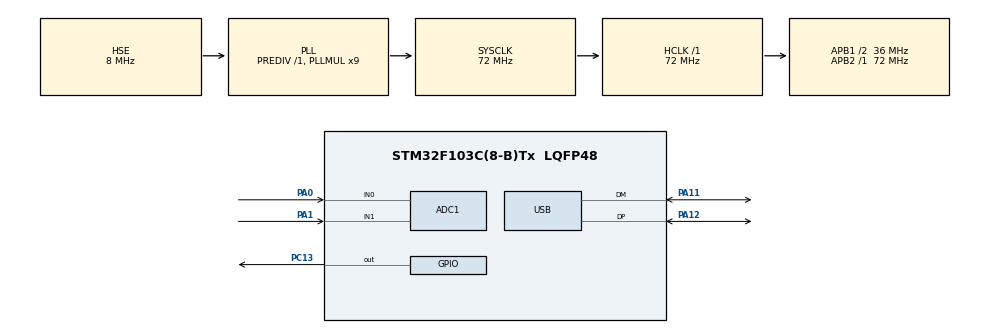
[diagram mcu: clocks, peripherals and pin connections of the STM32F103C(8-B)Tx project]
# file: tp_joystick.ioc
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ADC1.Channel-0\#ChannelRegularConversion=ADC_CHANNEL_0
ADC1.Channel-1\#ChannelRegularConversion=ADC_CHANNEL_0
ADC1.ContinuousConvMode=ENABLE
ADC1.NbrOfConversion=2
ADC1.NbrOfConversionFlag=1
ADC1.Rank-0\#ChannelRegularConversion=1
ADC1.Rank-1\#ChannelRegularConversion=2
ADC1.SamplingTime-0\#ChannelRegularConversion=ADC_SAMPLETIME_1CYCLE_5
ADC1.SamplingTime-1\#ChannelRegularConversion=ADC_SAMPLETIME_1CYCLE_5
ADC1.master=1
Mcu.Family=STM32F1
Mcu.Name=STM32F103C(8-B)Tx
Mcu.Package=LQFP48
NVIC.PriorityGroup=NVIC_PRIORITYGROUP_4
NVIC.USB_LP_CAN1_RX0_IRQn=true\:0\:0\:false\:false\:true\:false\:true
PA0-WKUP.Signal=ADCx_IN0
PA1.Signal=ADCx_IN1
PA11.Mode=Device
PA11.Signal=USB_DM
PA12.Mode=Device
PA12.Signal=USB_DP
PA13.Mode=Serial_Wire
PA13.Signal=SYS_JTMS-SWDIO
PA14.Mode=Serial_Wire
PA14.Signal=SYS_JTCK-SWCLK
PC13-TAMPER-RTC.Signal=GPIO_Output
PD0-OSC_IN.Mode=HSE-External-Oscillator
PD0-OSC_IN.Signal=RCC_OSC_IN
PD1-OSC_OUT.Mode=HSE-External-Oscillator
PD1-OSC_OUT.Signal=RCC_OSC_OUT
ProjectManager.HeapSize=0x200
ProjectManager.StackSize=0x400
ProjectManager.TargetToolchain=STM32CubeIDE
RCC.ADCPresc=RCC_ADCPCLK2_DIV6
RCC.AHBFreq_Value=72000000
RCC.APB1CLKDivider=RCC_HCLK_DIV2
RCC.APB1Freq_Value=36000000
RCC.APB1TimFreq_Value=72000000
RCC.APB2Freq_Value=72000000
RCC.APB2TimFreq_Value=72000000
RCC.HCLKFreq_Value=72000000
RCC.PLLMUL=RCC_PLL_MUL9
RCC.PLLSourceVirtual=RCC_PLLSOURCE_HSE
RCC.SYSCLKFreq_VALUE=72000000
RCC.SYSCLKSource=RCC_SYSCLKSOURCE_PLLCLK
RCC.USBFreq_Value=48000000
RCC.USBPrescaler=RCC_USBCLKSOURCE_PLL_DIV1_5
SH.ADCx_IN0.0=ADC1_IN0,IN0
SH.ADCx_IN1.0=ADC1_IN1,IN1
USB_DEVICE.CLASS_NAME_FS=HID
USB_DEVICE.VirtualMode=Hid
USB_DEVICE.VirtualModeFS=Hid_FS
VP_USB_DEVICE_VS_USB_DEVICE_HID_FS.Mode=HID_FS
board=custom

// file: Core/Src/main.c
/* USER CODE BEGIN Header */
/**
 ******************************************************************************
 * @file           : main.c
 * @brief          : Main program body
 ******************************************************************************
 * @attention
 *
 * <h2><center>&copy; Copyright (c) 2020 STMicroelectronics.
 * All rights reserved.</center></h2>
 *
 * This software component is licensed by ST under BSD 3-Clause license,
 * the "License"; You may not use this file except in compliance with the
 * License. You may obtain a copy of the License at:
 *                        opensource.org/licenses/BSD-3-Clause
 *
 ******************************************************************************
 */
/* USER CODE END Header */
#include "main.h"
#include "usb_device.h"

/* USER CODE BEGIN Includes */
#include "usbd_hid.h"
/* USER CODE END Includes */

/* USER CODE BEGIN PD */
#define TICKS_ADC_MS		(50)
#define DELAY_ADC			(64)
#define demora_software(X)	{for(int i=0; i<(X); i++){}}
#define LEN_MUESTRAS	(4)
/* USER CODE END PD */

ADC_HandleTypeDef hadc1;

/* USER CODE BEGIN PV */
extern USBD_HandleTypeDef hUsbDeviceFS;
/* USER CODE END PV */

void SystemClock_Config(void);
static void MX_GPIO_Init(void);
static void MX_ADC1_Init(void);
/* USER CODE BEGIN PFP */
void ADC_Select_CH0(void) {
	/** Configure Regular Channel
	 */
	ADC_ChannelConfTypeDef sConfig = { 0 };
	sConfig.Channel = ADC_CHANNEL_0;
	sConfig.Rank = ADC_REGULAR_RANK_1;
	sConfig.SamplingTime = ADC_SAMPLETIME_7CYCLES_5;
	if (HAL_ADC_ConfigChannel(&hadc1, &sConfig) != HAL_OK) {
		Error_Handler();
	}
}

void ADC_Select_CH1(void) {
	/** Configure Regular Channel
	 */
	ADC_ChannelConfTypeDef sConfig = { 0 };
	sConfig.Channel = ADC_CHANNEL_1;
	sConfig.Rank = ADC_REGULAR_RANK_1;
	sConfig.SamplingTime = ADC_SAMPLETIME_7CYCLES_5;
	if (HAL_ADC_ConfigChannel(&hadc1, &sConfig) != HAL_OK) {
		Error_Handler();
	}
}
/* USER CODE END PFP */

/* USER CODE BEGIN 0 */

uint16_t prom_ry = 0;
uint16_t prom_rx = 0;
/* USER CODE END 0 */

int main(void) {
	/* USER CODE BEGIN 1 */
	uint32_t ticks_adc;
	uint16_t dato_ch0 = 0;
	uint16_t dato_ch1 = 0;
	uint8_t i = 0;
	int8_t reporte[3];
	int8_t rx, ry;
	/* USER CODE END 1 */

	/* MCU Configuration--------------------------------------------------------*/

	/* Reset of all peripherals, Initializes the Flash interface and the Systick. */
	HAL_Init();

	/* Configure the system clock */
	SystemClock_Config();

	/* Initialize all configured peripherals */
	MX_GPIO_Init();
	MX_USB_DEVICE_Init();
	MX_ADC1_Init();

	/* Infinite loop */
	while (1) {

		/* USER CODE BEGIN 3 */
		if ((HAL_GetTick() - ticks_adc) >= TICKS_ADC_MS) {
			ticks_adc = HAL_GetTick();

			ADC_Select_CH0();
			HAL_ADC_Start(&hadc1);
			HAL_ADC_PollForConversion(&hadc1, 100);
			demora_software(DELAY_ADC);
			dato_ch0 += HAL_ADC_GetValue(&hadc1);
			HAL_ADC_Stop(&hadc1);

			ADC_Select_CH1();
			HAL_ADC_Start(&hadc1);
			HAL_ADC_PollForConversion(&hadc1, 100);
			demora_software(DELAY_ADC);
			dato_ch1 += HAL_ADC_GetValue(&hadc1);
			HAL_ADC_Stop(&hadc1);

			HAL_GPIO_TogglePin(GPIOC, GPIO_PIN_13);
			i++;
			if (i == LEN_MUESTRAS) {
				prom_ry = dato_ch0 / LEN_MUESTRAS;
				prom_rx = dato_ch1 / LEN_MUESTRAS;
				dato_ch0 = 0;
				dato_ch1 = 0;

				ry = (prom_ry - 1970) * 62 / 1000; //Es el valor en reposo
				rx = (prom_rx - 1970) * 62 / 1000; //Es el valor en reposo

				reporte[0] = HAL_GPIO_ReadPin(GPIOA, GPIO_PIN_2);
				reporte[1] = rx;
				reporte[2] = ry;
				USBD_HID_SendReport(&hUsbDeviceFS, (uint8_t*) reporte, 3);
//				HAL_Delay(10);
//				reporte[0] = 0;
//				reporte[1] = rx;
//				reporte[2] = ry;
//				USBD_HID_SendReport(&hUsbDeviceFS, (uint8_t*) reporte, 3);
				i = 0;
			}

		}
		UNUSED(dato_ch0);
		UNUSED(dato_ch1);
	}
	/* USER CODE END 3 */
}

void SystemClock_Config(void) {
	RCC_OscInitTypeDef RCC_OscInitStruct = { 0 };
	RCC_ClkInitTypeDef RCC_ClkInitStruct = { 0 };
	RCC_PeriphCLKInitTypeDef PeriphClkInit = { 0 };

	/** Initializes the RCC Oscillators according to the specified parameters
	 * in the RCC_OscInitTypeDef structure.
	 */
	RCC_OscInitStruct.OscillatorType = RCC_OSCILLATORTYPE_HSE;
	RCC_OscInitStruct.HSEState = RCC_HSE_ON;
	RCC_OscInitStruct.HSEPredivValue = RCC_HSE_PREDIV_DIV1;
	RCC_OscInitStruct.HSIState = RCC_HSI_ON;
	RCC_OscInitStruct.PLL.PLLState = RCC_PLL_ON;
	RCC_OscInitStruct.PLL.PLLSource = RCC_PLLSOURCE_HSE;
	RCC_OscInitStruct.PLL.PLLMUL = RCC_PLL_MUL9;
	if (HAL_RCC_OscConfig(&RCC_OscInitStruct) != HAL_OK) {
		Error_Handler();
	}
	/** Initializes the CPU, AHB and APB buses clocks
	 */
	RCC_ClkInitStruct.ClockType = RCC_CLOCKTYPE_HCLK | RCC_CLOCKTYPE_SYSCLK
			| RCC_CLOCKTYPE_PCLK1 | RCC_CLOCKTYPE_PCLK2;
	RCC_ClkInitStruct.SYSCLKSource = RCC_SYSCLKSOURCE_PLLCLK;
	RCC_ClkInitStruct.AHBCLKDivider = RCC_SYSCLK_DIV1;
	RCC_ClkInitStruct.APB1CLKDivider = RCC_HCLK_DIV2;
	RCC_ClkInitStruct.APB2CLKDivider = RCC_HCLK_DIV1;

	if (HAL_RCC_ClockConfig(&RCC_ClkInitStruct, FLASH_LATENCY_2) != HAL_OK) {
		Error_Handler();
	}
	PeriphClkInit.PeriphClockSelection = RCC_PERIPHCLK_ADC | RCC_PERIPHCLK_USB;
	PeriphClkInit.AdcClockSelection = RCC_ADCPCLK2_DIV6;
	PeriphClkInit.UsbClockSelection = RCC_USBCLKSOURCE_PLL_DIV1_5;
	if (HAL_RCCEx_PeriphCLKConfig(&PeriphClkInit) != HAL_OK) {
		Error_Handler();
	}
}

static void MX_ADC1_Init(void) {

	ADC_ChannelConfTypeDef sConfig = { 0 };

	/** Common config
	 */
	hadc1.Instance = ADC1;
	hadc1.Init.ScanConvMode = ADC_SCAN_ENABLE;
	hadc1.Init.ContinuousConvMode = ENABLE;
	hadc1.Init.DiscontinuousConvMode = DISABLE;
	hadc1.Init.ExternalTrigConv = ADC_SOFTWARE_START;
	hadc1.Init.DataAlign = ADC_DATAALIGN_RIGHT;
	hadc1.Init.NbrOfConversion = 2;
	if (HAL_ADC_Init(&hadc1) != HAL_OK) {
		Error_Handler();
	}
	/** Configure Regular Channel
	 */
	/*sConfig.Channel = ADC_CHANNEL_0;
	 sConfig.Rank = ADC_REGULAR_RANK_1;
	 sConfig.SamplingTime = ADC_SAMPLETIME_1CYCLE_5;
	 if (HAL_ADC_ConfigChannel(&hadc1, &sConfig) != HAL_OK) {
	 Error_Handler();
	 }
	 * Configure Regular Channel

	 sConfig.Rank = ADC_REGULAR_RANK_2;
	 if (HAL_ADC_ConfigChannel(&hadc1, &sConfig) != HAL_OK) {
	 Error_Handler();
	 }*/

}

static void MX_GPIO_Init(void) {
	GPIO_InitTypeDef GPIO_InitStruct = { 0 };

	/* GPIO Ports Clock Enable */
	__HAL_RCC_GPIOC_CLK_ENABLE();
	__HAL_RCC_GPIOD_CLK_ENABLE();
	__HAL_RCC_GPIOA_CLK_ENABLE();

	/*Configure GPIO pin Output Level */
	HAL_GPIO_WritePin(GPIOC, GPIO_PIN_13, GPIO_PIN_RESET);

	/*Configure GPIO pin : PC13 */
	GPIO_InitStruct.Pin = GPIO_PIN_13;
	GPIO_InitStruct.Mode = GPIO_MODE_OUTPUT_PP;
	GPIO_InitStruct.Pull = GPIO_NOPULL;
	GPIO_InitStruct.Speed = GPIO_SPEED_FREQ_LOW;
	HAL_GPIO_Init(GPIOC, &GPIO_InitStruct);

}

void Error_Handler(void) {
}

/************************ (C) COPYRIGHT STMicroelectronics *****END OF FILE****/
